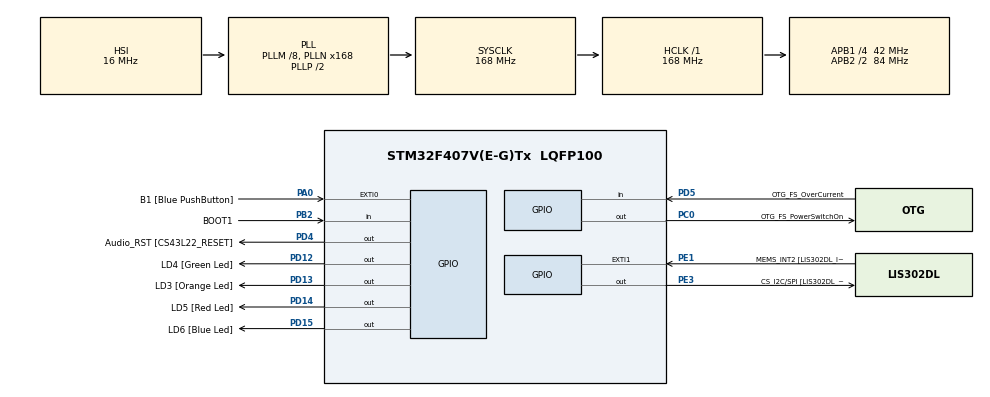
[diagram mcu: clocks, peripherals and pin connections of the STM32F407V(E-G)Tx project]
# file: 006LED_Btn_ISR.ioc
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Mcu.Family=STM32F4
Mcu.Name=STM32F407V(E-G)Tx
Mcu.Package=LQFP100
NVIC.EXTI0_IRQn=true\:6\:0\:true\:false\:true\:true\:true\:true
NVIC.PriorityGroup=NVIC_PRIORITYGROUP_4
NVIC.TIM6_DAC_IRQn=true\:15\:0\:false\:false\:true\:false\:true\:true
NVIC.TimeBase=TIM6_DAC_IRQn
NVIC.TimeBaseIP=TIM6
PA0-WKUP.GPIO_Label=B1 [Blue PushButton]
PA0-WKUP.GPIO_ModeDefaultEXTI=GPIO_MODE_IT_FALLING
PA0-WKUP.Signal=GPXTI0
PA10.GPIO_Label=OTG_FS_ID
PA10.GPIO_Mode=GPIO_MODE_AF_PP
PA10.GPIO_PuPd=GPIO_NOPULL
PA10.GPIO_Speed=GPIO_SPEED_FREQ_LOW
PA10.Signal=USB_OTG_FS_ID
PA11.GPIO_Label=OTG_FS_DM
PA11.GPIO_Mode=GPIO_MODE_AF_PP
PA11.GPIO_PuPd=GPIO_NOPULL
PA11.GPIO_Speed=GPIO_SPEED_FREQ_LOW
PA11.Signal=USB_OTG_FS_DM
PA12.GPIO_Label=OTG_FS_DP
PA12.GPIO_Mode=GPIO_MODE_AF_PP
PA12.GPIO_PuPd=GPIO_NOPULL
PA12.GPIO_Speed=GPIO_SPEED_FREQ_LOW
PA12.Signal=USB_OTG_FS_DP
PA13.GPIO_Label=SWDIO
PA13.Signal=SYS_JTMS-SWDIO
PA14.GPIO_Label=SWCLK
PA14.Signal=SYS_JTCK-SWCLK
PA4.GPIO_Label=I2S3_WS [CS43L22_LRCK]
PA4.GPIO_Mode=GPIO_MODE_AF_PP
PA4.GPIO_PuPd=GPIO_NOPULL
PA4.GPIO_Speed=GPIO_SPEED_FREQ_LOW
PA4.Signal=I2S3_WS
PA5.GPIO_Label=SPI1_SCK [LIS302DL_SCL/SPC]
PA5.GPIO_Mode=GPIO_MODE_AF_PP
PA5.GPIO_PuPd=GPIO_NOPULL
PA5.GPIO_Speed=GPIO_SPEED_FREQ_LOW
PA5.Signal=SPI1_SCK
PA6.GPIO_Label=SPI1_MISO [LIS302DL_SDO]
PA6.GPIO_Mode=GPIO_MODE_AF_PP
PA6.GPIO_PuPd=GPIO_NOPULL
PA6.GPIO_Speed=GPIO_SPEED_FREQ_LOW
PA6.Signal=SPI1_MISO
PA7.GPIO_Label=SPI1_MOSI [LIS302DL_SDA/SDI/SDO]
PA7.GPIO_Mode=GPIO_MODE_AF_PP
PA7.GPIO_PuPd=GPIO_NOPULL
PA7.GPIO_Speed=GPIO_SPEED_FREQ_LOW
PA7.Signal=SPI1_MOSI
PA9.GPIO_Label=VBUS_FS
PA9.GPIO_Mode=GPIO_MODE_INPUT
PA9.GPIO_PuPd=GPIO_NOPULL
PA9.Signal=USB_OTG_FS_VBUS
PB10.GPIO_Label=CLK_IN [MP45DT02_CLK]
PB10.GPIO_Mode=GPIO_MODE_AF_PP
PB10.GPIO_PuPd=GPIO_NOPULL
PB10.GPIO_Speed=GPIO_SPEED_FREQ_LOW
PB10.Signal=I2S2_CK
PB2.GPIO_Label=BOOT1
PB2.GPIO_Mode=GPIO_MODE_INPUT
PB2.GPIO_PuPd=GPIO_NOPULL
PB2.Signal=GPIO_Input
PB3.GPIO_Label=SWO
PB3.Signal=SYS_JTDO-SWO
PB6.GPIO_Label=Audio_SCL [CS43L22_SCL]
PB6.GPIO_Mode=GPIO_MODE_AF_OD
PB6.GPIO_PuPd=GPIO_NOPULL
PB6.GPIO_Speed=GPIO_SPEED_FREQ_LOW
PB6.Signal=I2C1_SCL
PB9.GPIO_Label=Audio_SDA [CS43L22_SDA]
PB9.GPIO_Mode=GPIO_MODE_AF_OD
PB9.GPIO_PuPd=GPIO_NOPULL
PB9.GPIO_Speed=GPIO_SPEED_FREQ_LOW
PB9.Signal=I2C1_SDA
PC0.GPIO_Label=OTG_FS_PowerSwitchOn
PC0.GPIO_PuPd=GPIO_NOPULL
PC0.GPIO_Speed=GPIO_SPEED_FREQ_LOW
PC0.PinState=GPIO_PIN_SET
PC0.Signal=GPIO_Output
PC10.GPIO_Label=I2S3_SCK [CS43L22_SCLK]
PC10.GPIO_Mode=GPIO_MODE_AF_PP
PC10.GPIO_PuPd=GPIO_NOPULL
PC10.GPIO_Speed=GPIO_SPEED_FREQ_LOW
PC10.Signal=I2S3_CK
PC12.GPIO_Label=I2S3_SD [CS43L22_SDIN]
PC12.GPIO_Mode=GPIO_MODE_AF_PP
PC12.GPIO_PuPd=GPIO_NOPULL
PC12.GPIO_Speed=GPIO_SPEED_FREQ_LOW
PC12.Signal=I2S3_SD
PC14-OSC32_IN.GPIO_Label=PC14-OSC32_IN
PC14-OSC32_IN.Signal=RCC_OSC32_IN
PC15-OSC32_OUT.GPIO_Label=PC15-OSC32_OUT
PC15-OSC32_OUT.Signal=RCC_OSC32_OUT
PC3.GPIO_Label=PDM_OUT [MP45DT02_DOUT]
PC3.GPIO_Mode=GPIO_MODE_AF_PP
PC3.GPIO_PuPd=GPIO_NOPULL
PC3.GPIO_Speed=GPIO_SPEED_FREQ_LOW
PC3.Signal=I2S2_SD
PC7.GPIO_Label=I2S3_MCK [CS43L22_MCLK]
PC7.GPIO_Mode=GPIO_MODE_AF_PP
PC7.GPIO_PuPd=GPIO_NOPULL
PC7.GPIO_Speed=GPIO_SPEED_FREQ_LOW
PC7.Signal=I2S3_MCK
PD12.GPIO_Label=LD4 [Green Led]
PD12.GPIO_PuPd=GPIO_NOPULL
PD12.GPIO_Speed=GPIO_SPEED_FREQ_LOW
PD12.Signal=GPIO_Output
PD13.GPIO_Label=LD3 [Orange Led]
PD13.GPIO_PuPd=GPIO_NOPULL
PD13.GPIO_Speed=GPIO_SPEED_FREQ_LOW
PD13.Signal=GPIO_Output
PD14.GPIO_Label=LD5 [Red Led]
PD14.GPIO_PuPd=GPIO_NOPULL
PD14.GPIO_Speed=GPIO_SPEED_FREQ_LOW
PD14.Signal=GPIO_Output
PD15.GPIO_Label=LD6 [Blue Led]
PD15.GPIO_PuPd=GPIO_NOPULL
PD15.GPIO_Speed=GPIO_SPEED_FREQ_LOW
PD15.Signal=GPIO_Output
PD4.GPIO_Label=Audio_RST [CS43L22_RESET]
PD4.GPIO_PuPd=GPIO_NOPULL
PD4.GPIO_Speed=GPIO_SPEED_FREQ_LOW
PD4.Signal=GPIO_Output
PD5.GPIO_Label=OTG_FS_OverCurrent
PD5.GPIO_Mode=GPIO_MODE_INPUT
PD5.GPIO_PuPd=GPIO_NOPULL
PD5.Signal=GPIO_Input
PE1.GPIO_Label=MEMS_INT2 [LIS302DL_INT2]
PE1.GPIO_ModeDefaultEXTI=GPIO_MODE_EVT_RISING
PE1.GPIO_PuPd=GPIO_NOPULL
PE1.Signal=GPXTI1
PE3.GPIO_Label=CS_I2C/SPI [LIS302DL_CS_I2C/SPI]
PE3.GPIO_PuPd=GPIO_NOPULL
PE3.GPIO_Speed=GPIO_SPEED_FREQ_LOW
PE3.Signal=GPIO_Output
PH0-OSC_IN.GPIO_Label=PH0-OSC_IN
PH0-OSC_IN.Signal=RCC_OSC_IN
PH1-OSC_OUT.GPIO_Label=PH1-OSC_OUT
PH1-OSC_OUT.Signal=RCC_OSC_OUT
ProjectManager.HeapSize=0x200
ProjectManager.StackSize=0x400
ProjectManager.TargetToolchain=STM32CubeIDE
RCC.48MHZClocksFreq_Value=48000000
RCC.AHBFreq_Value=168000000
RCC.APB1CLKDivider=RCC_HCLK_DIV4
RCC.APB1Freq_Value=42000000
RCC.APB1TimFreq_Value=84000000
RCC.APB2CLKDivider=RCC_HCLK_DIV2
RCC.APB2Freq_Value=84000000
RCC.APB2TimFreq_Value=168000000
RCC.CortexFreq_Value=168000000
RCC.HCLKFreq_Value=168000000
RCC.HSE_VALUE=8000000
RCC.HSI_VALUE=16000000
RCC.LSE_VALUE=32768
RCC.PLLM=8
RCC.PLLN=168
RCC.PLLQ=7
RCC.SYSCLKFreq_VALUE=168000000
RCC.SYSCLKSource=RCC_SYSCLKSOURCE_PLLCLK
RCC.VCOOutputFreq_Value=336000000
VP_SYS_VS_tim6.Mode=TIM6
board=STM32F407G-DISC1

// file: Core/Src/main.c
/* USER CODE BEGIN Header */
/**
  ******************************************************************************
  * @file           : main.c
  * @brief          : Main program body
  ******************************************************************************
  * @attention
  *
  * Copyright (c) 2025 STMicroelectronics.
  * All rights reserved.
  *
  * This software is licensed under terms that can be found in the LICENSE file
  * in the root directory of this software component.
  * If no LICENSE file comes with this software, it is provided AS-IS.
  *
  ******************************************************************************
  */
/* USER CODE END Header */
#include "main.h"

/* USER CODE BEGIN Includes */
#include "FreeRTOS.h"
#include "task.h"
/* USER CODE END Includes */

/* USER CODE BEGIN PV */
#define DWT_CTRL 			(*(volatile uint32_t*)0xE0001000)
/* USER CODE END PV */

void SystemClock_Config(void);
static void MX_GPIO_Init(void);
/* USER CODE BEGIN PFP */
static void led_green_handler(void* parameters);
static void led_orange_handler(void* parameters);
static void led_red_handler(void* parameters);

TaskHandle_t ledg_task_handle;
TaskHandle_t ledo_task_handle;
TaskHandle_t ledr_task_handle;
TaskHandle_t btn_task_handle;

extern void SEGGER_UART_init(uint32_t);

TaskHandle_t volatile next_task_handle = NULL; //shared data all task uses this global variable
/* USER CODE END PFP */

int main(void)
{

  /* USER CODE BEGIN 1 */
	BaseType_t status;
  /* USER CODE END 1 */

  /* MCU Configuration--------------------------------------------------------*/

  /* Reset of all peripherals, Initializes the Flash interface and the Systick. */
  HAL_Init();

  /* Configure the system clock */
  SystemClock_Config();

  /* Initialize all configured peripherals */
  MX_GPIO_Init();
  /* USER CODE BEGIN 2 */
  SEGGER_UART_init(500000);

  //CYCLCNT enable
  DWT_CTRL |= (1 << 0);

  SEGGER_SYSVIEW_Conf(); //for uart communucation

  status = xTaskCreate(led_green_handler, "LED_green_task", 200, NULL, 3, &ledg_task_handle); //task1_handle is own TCB address

  configASSERT(status == pdPASS);

  next_task_handle = ledg_task_handle;

  status = xTaskCreate(led_red_handler, "LED_red_task", 200, NULL, 1, &ledr_task_handle);

  configASSERT(status == pdPASS);

  status = xTaskCreate(led_orange_handler, "LED_orange_task", 200, NULL, 2, &ledo_task_handle);

  configASSERT(status == pdPASS);

  //start the freeRTOS scheduler
  vTaskStartScheduler();

  /* USER CODE END 2 */

  /* Infinite loop */
  while (1)
  {

  }
}

void SystemClock_Config(void)
{
  RCC_OscInitTypeDef RCC_OscInitStruct = {0};
  RCC_ClkInitTypeDef RCC_ClkInitStruct = {0};

  /** Configure the main internal regulator output voltage
  */
  __HAL_RCC_PWR_CLK_ENABLE();
  __HAL_PWR_VOLTAGESCALING_CONFIG(PWR_REGULATOR_VOLTAGE_SCALE1);

  /** Initializes the RCC Oscillators according to the specified parameters
  * in the RCC_OscInitTypeDef structure.
  */
  RCC_OscInitStruct.OscillatorType = RCC_OSCILLATORTYPE_HSI;
  RCC_OscInitStruct.HSIState = RCC_HSI_ON;
  RCC_OscInitStruct.HSICalibrationValue = RCC_HSICALIBRATION_DEFAULT;
  RCC_OscInitStruct.PLL.PLLState = RCC_PLL_ON;
  RCC_OscInitStruct.PLL.PLLSource = RCC_PLLSOURCE_HSI;
  RCC_OscInitStruct.PLL.PLLM = 8;
  RCC_OscInitStruct.PLL.PLLN = 168;
  RCC_OscInitStruct.PLL.PLLP = RCC_PLLP_DIV2;
  RCC_OscInitStruct.PLL.PLLQ = 7;
  if (HAL_RCC_OscConfig(&RCC_OscInitStruct) != HAL_OK)
  {
    Error_Handler();
  }

  /** Initializes the CPU, AHB and APB buses clocks
  */
  RCC_ClkInitStruct.ClockType = RCC_CLOCKTYPE_HCLK|RCC_CLOCKTYPE_SYSCLK
                              |RCC_CLOCKTYPE_PCLK1|RCC_CLOCKTYPE_PCLK2;
  RCC_ClkInitStruct.SYSCLKSource = RCC_SYSCLKSOURCE_PLLCLK;
  RCC_ClkInitStruct.AHBCLKDivider = RCC_SYSCLK_DIV1;
  RCC_ClkInitStruct.APB1CLKDivider = RCC_HCLK_DIV4;
  RCC_ClkInitStruct.APB2CLKDivider = RCC_HCLK_DIV2;

  if (HAL_RCC_ClockConfig(&RCC_ClkInitStruct, FLASH_LATENCY_5) != HAL_OK)
  {
    Error_Handler();
  }
}

static void MX_GPIO_Init(void)
{
  GPIO_InitTypeDef GPIO_InitStruct = {0};

  /* GPIO Ports Clock Enable */
  __HAL_RCC_GPIOE_CLK_ENABLE();
  __HAL_RCC_GPIOC_CLK_ENABLE();
  __HAL_RCC_GPIOH_CLK_ENABLE();
  __HAL_RCC_GPIOA_CLK_ENABLE();
  __HAL_RCC_GPIOB_CLK_ENABLE();
  __HAL_RCC_GPIOD_CLK_ENABLE();

  /*Configure GPIO pin Output Level */
  HAL_GPIO_WritePin(CS_I2C_SPI_GPIO_Port, CS_I2C_SPI_Pin, GPIO_PIN_RESET);

  /*Configure GPIO pin Output Level */
  HAL_GPIO_WritePin(OTG_FS_PowerSwitchOn_GPIO_Port, OTG_FS_PowerSwitchOn_Pin, GPIO_PIN_SET);

  /*Configure GPIO pin Output Level */
  HAL_GPIO_WritePin(GPIOD, LD4_Pin|LD3_Pin|LD5_Pin|LD6_Pin
                          |Audio_RST_Pin, GPIO_PIN_RESET);

  /*Configure GPIO pin : CS_I2C_SPI_Pin */
  GPIO_InitStruct.Pin = CS_I2C_SPI_Pin;
  GPIO_InitStruct.Mode = GPIO_MODE_OUTPUT_PP;
  GPIO_InitStruct.Pull = GPIO_NOPULL;
  GPIO_InitStruct.Speed = GPIO_SPEED_FREQ_LOW;
  HAL_GPIO_Init(CS_I2C_SPI_GPIO_Port, &GPIO_InitStruct);

  /*Configure GPIO pin : OTG_FS_PowerSwitchOn_Pin */
  GPIO_InitStruct.Pin = OTG_FS_PowerSwitchOn_Pin;
  GPIO_InitStruct.Mode = GPIO_MODE_OUTPUT_PP;
  GPIO_InitStruct.Pull = GPIO_NOPULL;
  GPIO_InitStruct.Speed = GPIO_SPEED_FREQ_LOW;
  HAL_GPIO_Init(OTG_FS_PowerSwitchOn_GPIO_Port, &GPIO_InitStruct);

  /*Configure GPIO pin : PDM_OUT_Pin */
  GPIO_InitStruct.Pin = PDM_OUT_Pin;
  GPIO_InitStruct.Mode = GPIO_MODE_AF_PP;
  GPIO_InitStruct.Pull = GPIO_NOPULL;
  GPIO_InitStruct.Speed = GPIO_SPEED_FREQ_LOW;
  GPIO_InitStruct.Alternate = GPIO_AF5_SPI2;
  HAL_GPIO_Init(PDM_OUT_GPIO_Port, &GPIO_InitStruct);

  /*Configure GPIO pin : B1_Pin */
  GPIO_InitStruct.Pin = B1_Pin;
  GPIO_InitStruct.Mode = GPIO_MODE_IT_FALLING;
  GPIO_InitStruct.Pull = GPIO_NOPULL;
  HAL_GPIO_Init(B1_GPIO_Port, &GPIO_InitStruct);

  /*Configure GPIO pin : I2S3_WS_Pin */
  GPIO_InitStruct.Pin = I2S3_WS_Pin;
  GPIO_InitStruct.Mode = GPIO_MODE_AF_PP;
  GPIO_InitStruct.Pull = GPIO_NOPULL;
  GPIO_InitStruct.Speed = GPIO_SPEED_FREQ_LOW;
  GPIO_InitStruct.Alternate = GPIO_AF6_SPI3;
  HAL_GPIO_Init(I2S3_WS_GPIO_Port, &GPIO_InitStruct);

  /*Configure GPIO pins : SPI1_SCK_Pin SPI1_MISO_Pin SPI1_MOSI_Pin */
  GPIO_InitStruct.Pin = SPI1_SCK_Pin|SPI1_MISO_Pin|SPI1_MOSI_Pin;
  GPIO_InitStruct.Mode = GPIO_MODE_AF_PP;
  GPIO_InitStruct.Pull = GPIO_NOPULL;
  GPIO_InitStruct.Speed = GPIO_SPEED_FREQ_LOW;
  GPIO_InitStruct.Alternate = GPIO_AF5_SPI1;
  HAL_GPIO_Init(GPIOA, &GPIO_InitStruct);

  /*Configure GPIO pin : BOOT1_Pin */
  GPIO_InitStruct.Pin = BOOT1_Pin;
  GPIO_InitStruct.Mode = GPIO_MODE_INPUT;
  GPIO_InitStruct.Pull = GPIO_NOPULL;
  HAL_GPIO_Init(BOOT1_GPIO_Port, &GPIO_InitStruct);

  /*Configure GPIO pin : CLK_IN_Pin */
  GPIO_InitStruct.Pin = CLK_IN_Pin;
  GPIO_InitStruct.Mode = GPIO_MODE_AF_PP;
  GPIO_InitStruct.Pull = GPIO_NOPULL;
  GPIO_InitStruct.Speed = GPIO_SPEED_FREQ_LOW;
  GPIO_InitStruct.Alternate = GPIO_AF5_SPI2;
  HAL_GPIO_Init(CLK_IN_GPIO_Port, &GPIO_InitStruct);

  /*Configure GPIO pins : LD4_Pin LD3_Pin LD5_Pin LD6_Pin
                           Audio_RST_Pin */
  GPIO_InitStruct.Pin = LD4_Pin|LD3_Pin|LD5_Pin|LD6_Pin
                          |Audio_RST_Pin;
  GPIO_InitStruct.Mode = GPIO_MODE_OUTPUT_PP;
  GPIO_InitStruct.Pull = GPIO_NOPULL;
  GPIO_InitStruct.Speed = GPIO_SPEED_FREQ_LOW;
  HAL_GPIO_Init(GPIOD, &GPIO_InitStruct);

  /*Configure GPIO pins : I2S3_MCK_Pin I2S3_SCK_Pin I2S3_SD_Pin */
  GPIO_InitStruct.Pin = I2S3_MCK_Pin|I2S3_SCK_Pin|I2S3_SD_Pin;
  GPIO_InitStruct.Mode = GPIO_MODE_AF_PP;
  GPIO_InitStruct.Pull = GPIO_NOPULL;
  GPIO_InitStruct.Speed = GPIO_SPEED_FREQ_LOW;
  GPIO_InitStruct.Alternate = GPIO_AF6_SPI3;
  HAL_GPIO_Init(GPIOC, &GPIO_InitStruct);

  /*Configure GPIO pin : VBUS_FS_Pin */
  GPIO_InitStruct.Pin = VBUS_FS_Pin;
  GPIO_InitStruct.Mode = GPIO_MODE_INPUT;
  GPIO_InitStruct.Pull = GPIO_NOPULL;
  HAL_GPIO_Init(VBUS_FS_GPIO_Port, &GPIO_InitStruct);

  /*Configure GPIO pins : OTG_FS_ID_Pin OTG_FS_DM_Pin OTG_FS_DP_Pin */
  GPIO_InitStruct.Pin = OTG_FS_ID_Pin|OTG_FS_DM_Pin|OTG_FS_DP_Pin;
  GPIO_InitStruct.Mode = GPIO_MODE_AF_PP;
  GPIO_InitStruct.Pull = GPIO_NOPULL;
  GPIO_InitStruct.Speed = GPIO_SPEED_FREQ_LOW;
  GPIO_InitStruct.Alternate = GPIO_AF10_OTG_FS;
  HAL_GPIO_Init(GPIOA, &GPIO_InitStruct);

  /*Configure GPIO pin : OTG_FS_OverCurrent_Pin */
  GPIO_InitStruct.Pin = OTG_FS_OverCurrent_Pin;
  GPIO_InitStruct.Mode = GPIO_MODE_INPUT;
  GPIO_InitStruct.Pull = GPIO_NOPULL;
  HAL_GPIO_Init(OTG_FS_OverCurrent_GPIO_Port, &GPIO_InitStruct);

  /*Configure GPIO pins : Audio_SCL_Pin Audio_SDA_Pin */
  GPIO_InitStruct.Pin = Audio_SCL_Pin|Audio_SDA_Pin;
  GPIO_InitStruct.Mode = GPIO_MODE_AF_OD;
  GPIO_InitStruct.Pull = GPIO_NOPULL;
  GPIO_InitStruct.Speed = GPIO_SPEED_FREQ_LOW;
  GPIO_InitStruct.Alternate = GPIO_AF4_I2C1;
  HAL_GPIO_Init(GPIOB, &GPIO_InitStruct);

  /*Configure GPIO pin : MEMS_INT2_Pin */
  GPIO_InitStruct.Pin = MEMS_INT2_Pin;
  GPIO_InitStruct.Mode = GPIO_MODE_EVT_RISING;
  GPIO_InitStruct.Pull = GPIO_NOPULL;
  HAL_GPIO_Init(MEMS_INT2_GPIO_Port, &GPIO_InitStruct);

  /* EXTI interrupt init*/
  HAL_NVIC_SetPriority(EXTI0_IRQn, 6, 0);
  HAL_NVIC_EnableIRQ(EXTI0_IRQn);

}

/* USER CODE BEGIN 4 */
void button_interrupt_handler(void){
	//look 235, 236
	BaseType_t  pxHigherPriorityTaskWoken;
	pxHigherPriorityTaskWoken = pdFALSE;
	/*
	 * the SEGGER SystemView target sources to detect the entry of an interrupt. If you don't provide this,
	 * then SEGGER target sources will not be having any idea that there was actually an execution of interrupt handler.
	 */
	traceISR_ENTER();
	xTaskNotifyFromISR(next_task_handle, 0, eNoAction, &pxHigherPriorityTaskWoken);
	//Once the ISR exits, this macro makes higher priority task which got unblocked here to resume on the CPU.
	portYIELD_FROM_ISR(pxHigherPriorityTaskWoken);
	traceISR_EXIT();
}

static void led_green_handler(void *parameters){
	BaseType_t status;
	while(1){
		SEGGER_SYSVIEW_PrintfTarget("Toggling green led");
		HAL_GPIO_TogglePin(GPIOD, LED_GREEN_PIN);
		status = xTaskNotifyWait(0, 0, NULL, pdMS_TO_TICKS(1000));
		if(status == pdTRUE){
			vPortEnterCritical();
			/*
			 * This actually disables the interrupt, this also disables the PendSV interrupt. So, once that PendSV interrupt is disabled,
			 * because, you know that PendSV is configured for the lowest priority, that is 0xF0.
			 * Hence, this actually disables context switch as well. That means,
			 * the context switch between task is also disabled by using this macro.
			 */
			next_task_handle = ledo_task_handle;
			HAL_GPIO_WritePin(GPIOD, LED_GREEN_PIN, GPIO_PIN_SET);
			SEGGER_SYSVIEW_PrintfTarget("Deleting green led task");
			portEXIT_CRITICAL();
			vTaskDelete(NULL);
		}
	}
}

static void led_orange_handler(void *parameters){
	BaseType_t status;
	while(1){
		SEGGER_SYSVIEW_PrintfTarget("Toggling orange led");
		HAL_GPIO_TogglePin(GPIOD, LED_ORANGE_PIN);
		status = xTaskNotifyWait(0, 0, NULL, pdMS_TO_TICKS(800));
		if(status == pdTRUE){
			portENTER_CRITICAL();
			next_task_handle = ledr_task_handle;
			xTaskResumeAll();
			HAL_GPIO_WritePin(GPIOD, LED_ORANGE_PIN, GPIO_PIN_SET);
			SEGGER_SYSVIEW_PrintfTarget("Deleting orange led task");
			portEXIT_CRITICAL();
			vTaskDelete(NULL);
		}
	}
}

static void led_red_handler(void *parameters){
	BaseType_t status;
	while(1){
		SEGGER_SYSVIEW_PrintfTarget("Toggling red led");
		HAL_GPIO_TogglePin(GPIOD, LED_RED_PIN);
		status = xTaskNotifyWait(0, 0, NULL, pdMS_TO_TICKS(400));
		if(status == pdTRUE){
			portENTER_CRITICAL();
			next_task_handle = NULL;
			xTaskResumeAll();
			HAL_GPIO_WritePin(GPIOD, LED_RED_PIN, GPIO_PIN_SET);
			vTaskDelete(btn_task_handle);
			SEGGER_SYSVIEW_PrintfTarget("Deleting red led task");
			portEXIT_CRITICAL();
			vTaskDelete(NULL);
		}
	}
}
/* USER CODE END 4 */

void HAL_TIM_PeriodElapsedCallback(TIM_HandleTypeDef *htim)
{
  if (htim->Instance == TIM6)
  {
    HAL_IncTick();
  }
}

void Error_Handler(void)
{
  __disable_irq();
  while (1)
  {
  }
}
